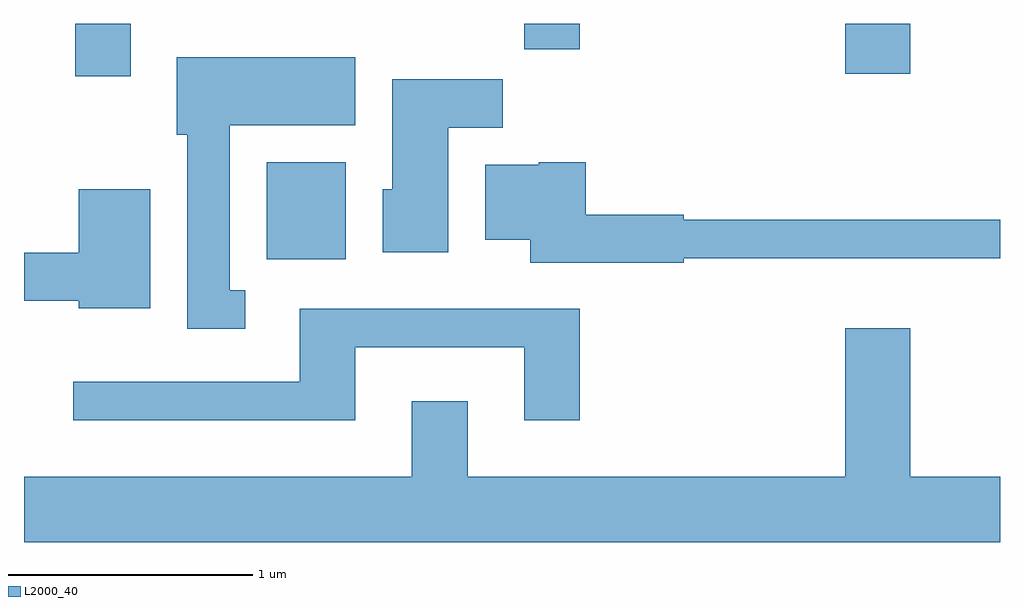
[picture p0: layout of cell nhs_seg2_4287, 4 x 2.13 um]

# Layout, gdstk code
import gdstk
lib = gdstk.Library(unit=1e-6, precision=1e-09)
def R(c, l, rs):  # rectangles x0, y0, x1, y1
    for r in rs: c.add(gdstk.rectangle(r[:2], r[2:], *l))
def P(c, l, *ps):  # polygons
    for p in ps: c.add(gdstk.Polygon(p, *l))
L2000_40 = (2000, 40)

nhs_seg2_4287 = lib.new_cell('nhs_seg2_4287')
R(nhs_seg2_4287, L2000_40, [(312.606,1022.836,312.929,1023.234), (311.821,1023.586,312.049,1023.802), (314.976,1023.596,315.244,1023.802), (313.661,1023.696,313.889,1023.802)])
P(nhs_seg2_4287, L2000_40, [(312.518,1022.709),(312.454,1022.709),(312.454,1023.386),(312.969,1023.386),(312.969,1023.664),(312.236,1023.664),(312.236,1023.346),(312.281,1023.346),(312.281,1022.551),(312.518,1022.551)],
  [(313.349,1023.376),(313.574,1023.376),(313.574,1023.574),(313.121,1023.574),(313.121,1023.124),(313.081,1023.124),(313.081,1022.866),(313.349,1022.866)],
  [(314.314,1022.841),(315.611,1022.841),(315.611,1022.999),(314.314,1022.999),(314.314,1023.019),(313.914,1023.019),(313.914,1023.234),(313.72,1023.234),(313.72,1023.224),(313.501,1023.224),(313.501,1022.916),(313.686,1022.916),(313.686,1022.821),(314.314,1022.821)],
  [(312.129,1023.124),(311.836,1023.124),(311.836,1022.864),(311.611,1022.864),(311.611,1022.666),(311.836,1022.666),(311.836,1022.636),(312.129,1022.636)],
  [(312.969,1022.476),(313.661,1022.476),(313.661,1022.176),(313.889,1022.176),(313.889,1022.634),(312.741,1022.634),(312.741,1022.334),(311.813,1022.334),(311.813,1022.176),(312.969,1022.176)],
  [(315.611,1021.944),(315.244,1021.944),(315.244,1022.554),(314.976,1022.554),(314.976,1021.944),(313.429,1021.944),(313.429,1022.254),(313.201,1022.254),(313.201,1021.944),(311.611,1021.944),(311.611,1021.676),(315.611,1021.676)])

lib.write_gds('nhs_seg2_4287.gds')
